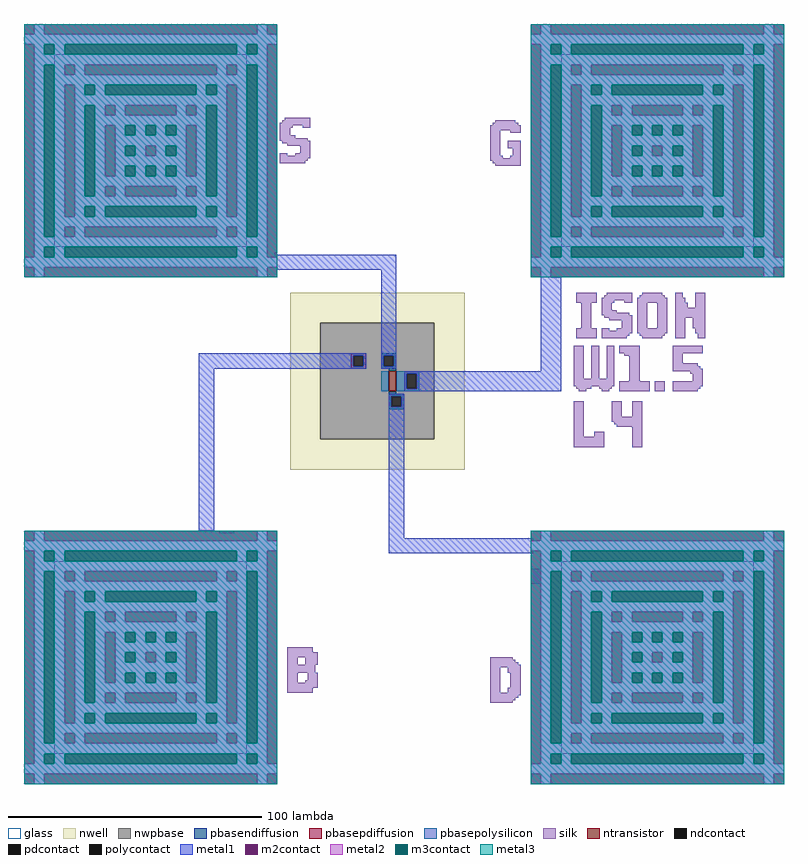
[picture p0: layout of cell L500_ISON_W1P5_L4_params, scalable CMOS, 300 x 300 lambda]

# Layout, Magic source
magic
tech scmos
<< nwell >>
rect -15 85 54 97
rect -15 39 -3 85
rect 42 39 54 85
rect -15 27 54 39
<< pbasepolysilicon >>
rect 21 58 24 66
rect 27 65 36 66
rect 27 59 31 65
rect 35 59 36 65
rect 27 58 36 59
<< metal1 >>
rect -21 112 -20 113
rect -21 107 27 112
rect -20 106 27 107
rect -51 72 15 73
rect -51 68 10 72
rect 14 68 15 72
rect -51 67 15 68
rect 21 72 27 106
rect 21 68 22 72
rect 26 68 27 72
rect 21 67 27 68
rect -51 3 -45 67
rect 84 66 92 103
rect 30 65 92 66
rect 30 59 31 65
rect 35 59 92 65
rect 30 58 92 59
rect 24 56 30 57
rect 24 52 25 56
rect 29 52 30 56
rect -43 2 -37 3
rect 24 0 30 52
rect 24 -6 81 0
rect 80 -18 86 -12
<< ntransistor >>
rect 24 58 27 66
<< nwpbase >>
rect -3 39 42 85
<< pbasendiffusion >>
rect 21 72 27 73
rect 21 68 22 72
rect 26 68 27 72
rect 21 67 27 68
rect 24 66 27 67
rect 24 57 27 58
rect 24 56 30 57
rect 24 52 25 56
rect 29 52 30 56
rect 24 51 30 52
<< pbasepdiffusion >>
rect 9 72 15 73
rect 9 68 10 72
rect 14 68 15 72
rect 9 67 15 68
<< polycontact >>
rect 31 59 35 65
<< ndcontact >>
rect 22 68 26 72
rect 25 52 29 56
<< pdcontact >>
rect 10 68 14 72
use L500_TPAD_blank  L500_TPAD_blank_0
transform 1 0 -120 0 1 103
box 0 0 100 100
use L500_CHAR_s  L500_CHAR_s_0
transform 1 0 -19 0 1 148
box 0 0 12 18
use L500_CHAR_g  L500_CHAR_g_0
transform 1 0 64 0 1 147
box 0 0 12 18
use L500_TPAD_blank  L500_TPAD_blank_1
transform 1 0 80 0 1 103
box 0 0 100 100
use L500_CHAR_i  L500_CHAR_i_0
transform 1 0 98 0 1 79
box 0 0 8 18
use L500_CHAR_s  L500_CHAR_s_1
transform 1 0 108 0 1 79
box 0 0 12 18
use L500_CHAR_o  L500_CHAR_o_0
transform 1 0 122 0 1 79
box 0 0 12 18
use L500_CHAR_n  L500_CHAR_n_0
transform 1 0 137 0 1 79
box 0 0 12 18
use L500_CHAR_w  L500_CHAR_w_0
transform 1 0 97 0 1 58
box 0 0 16 18
use L500_CHAR_1  L500_CHAR_1_0
transform 1 0 115 0 1 58
box 0 0 12 18
use L500_CHAR_dot  L500_CHAR_dot_0
transform 1 0 129 0 1 58
box 0 0 4 4
use L500_CHAR_5  L500_CHAR_5_0
transform 1 0 136 0 1 58
box 0 0 12 18
use L500_CHAR_l  L500_CHAR_l_0
transform 1 0 97 0 1 36
box 0 0 12 18
use L500_CHAR_4  L500_CHAR_4_0
transform 1 0 112 0 1 36
box 0 0 12 18
use L500_TPAD_blank  L500_TPAD_blank_3
transform 1 0 -120 0 1 -97
box 0 0 100 100
use L500_CHAR_b  L500_CHAR_b_0
transform 1 0 -16 0 1 -61
box 0 0 12 18
use L500_CHAR_d  L500_CHAR_d_0
transform 1 0 64 0 1 -65
box 0 0 12 18
use L500_TPAD_blank  L500_TPAD_blank_2
transform 1 0 80 0 1 -97
box 0 0 100 100
<< end >>

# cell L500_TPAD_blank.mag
magic
tech scmos
<< metal1 >>
rect 4 96 8 100
rect 92 96 96 100
rect 0 92 100 96
rect 4 84 96 92
rect 4 80 16 84
rect 20 80 24 84
rect 76 80 80 84
rect 84 80 96 84
rect 4 76 96 80
rect 4 24 16 76
rect 20 68 80 76
rect 20 64 32 68
rect 36 64 40 68
rect 60 64 64 68
rect 68 64 80 68
rect 20 60 80 64
rect 20 40 32 60
rect 36 52 64 60
rect 36 48 48 52
rect 52 48 64 52
rect 36 40 64 48
rect 68 40 80 60
rect 20 36 80 40
rect 20 32 32 36
rect 36 32 40 36
rect 60 32 64 36
rect 68 32 80 36
rect 20 24 80 32
rect 84 24 96 76
rect 4 20 96 24
rect 4 16 16 20
rect 20 16 24 20
rect 76 16 80 20
rect 84 16 96 20
rect 4 8 96 16
rect 0 4 100 8
rect 4 0 8 4
rect 92 0 96 4
<< metal2 >>
rect 4 96 8 100
rect 92 96 96 100
rect 0 92 100 96
rect 4 88 8 92
rect 12 88 16 92
rect 84 88 88 92
rect 92 88 96 92
rect 4 84 96 88
rect 4 16 8 84
rect 12 80 16 84
rect 20 80 24 84
rect 76 80 80 84
rect 84 80 88 84
rect 12 76 88 80
rect 12 24 16 76
rect 20 72 24 76
rect 28 72 32 76
rect 68 72 72 76
rect 76 72 80 76
rect 20 68 80 72
rect 20 32 24 68
rect 28 64 32 68
rect 36 64 40 68
rect 60 64 64 68
rect 68 64 72 68
rect 28 60 72 64
rect 28 40 32 60
rect 36 56 40 60
rect 44 56 48 60
rect 52 56 56 60
rect 60 56 64 60
rect 36 52 64 56
rect 36 48 40 52
rect 44 48 48 52
rect 52 48 56 52
rect 60 48 64 52
rect 36 44 64 48
rect 36 40 40 44
rect 44 40 48 44
rect 52 40 56 44
rect 60 40 64 44
rect 68 40 72 60
rect 28 36 72 40
rect 28 32 32 36
rect 36 32 40 36
rect 60 32 64 36
rect 68 32 72 36
rect 76 32 80 68
rect 20 28 80 32
rect 20 24 24 28
rect 28 24 32 28
rect 68 24 72 28
rect 76 24 80 28
rect 84 24 88 76
rect 12 20 88 24
rect 12 16 16 20
rect 20 16 24 20
rect 76 16 80 20
rect 84 16 88 20
rect 92 16 96 84
rect 4 12 96 16
rect 4 8 8 12
rect 12 8 16 12
rect 84 8 88 12
rect 92 8 96 12
rect 0 4 100 8
rect 4 0 8 4
rect 92 0 96 4
<< metal3 >>
rect 0 92 100 100
rect 0 88 8 92
rect 12 88 16 92
rect 84 88 88 92
rect 92 88 100 92
rect 0 84 100 88
rect 0 16 8 84
rect 12 76 88 84
rect 12 72 24 76
rect 28 72 32 76
rect 68 72 72 76
rect 76 72 88 76
rect 12 68 88 72
rect 12 32 24 68
rect 28 60 72 68
rect 28 56 40 60
rect 44 56 48 60
rect 52 56 56 60
rect 60 56 72 60
rect 28 52 72 56
rect 28 48 40 52
rect 44 48 56 52
rect 60 48 72 52
rect 28 44 72 48
rect 28 40 40 44
rect 44 40 48 44
rect 52 40 56 44
rect 60 40 72 44
rect 28 32 72 40
rect 76 32 88 68
rect 12 28 88 32
rect 12 24 24 28
rect 28 24 32 28
rect 68 24 72 28
rect 76 24 88 28
rect 12 16 88 24
rect 92 16 100 84
rect 0 12 100 16
rect 0 8 8 12
rect 12 8 16 12
rect 84 8 88 12
rect 92 8 100 12
rect 0 0 100 8
<< m2contact >>
rect 0 96 4 100
rect 8 96 92 100
rect 96 96 100 100
rect 0 8 4 92
rect 16 80 20 84
rect 24 80 76 84
rect 80 80 84 84
rect 16 24 20 76
rect 32 64 36 68
rect 40 64 60 68
rect 64 64 68 68
rect 32 40 36 60
rect 48 48 52 52
rect 64 40 68 60
rect 32 32 36 36
rect 40 32 60 36
rect 64 32 68 36
rect 80 24 84 76
rect 16 16 20 20
rect 24 16 76 20
rect 80 16 84 20
rect 96 8 100 92
rect 0 0 4 4
rect 8 0 92 4
rect 96 0 100 4
<< m3contact >>
rect 8 88 12 92
rect 16 88 84 92
rect 88 88 92 92
rect 8 16 12 84
rect 24 72 28 76
rect 32 72 68 76
rect 72 72 76 76
rect 24 32 28 68
rect 40 56 44 60
rect 48 56 52 60
rect 56 56 60 60
rect 40 48 44 52
rect 56 48 60 52
rect 40 40 44 44
rect 48 40 52 44
rect 56 40 60 44
rect 72 32 76 68
rect 24 24 28 28
rect 32 24 68 28
rect 72 24 76 28
rect 88 16 92 84
rect 8 8 12 12
rect 16 8 84 12
rect 88 8 92 12
<< glass >>
rect 12 12 88 88
<< end >>

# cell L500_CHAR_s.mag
magic
tech scmos
<< silk >>
rect 2 17 12 18
rect 1 16 12 17
rect 0 15 12 16
rect 0 14 5 15
rect 9 14 12 15
rect 0 11 4 14
rect 0 10 6 11
rect 0 9 11 10
rect 1 8 12 9
rect 3 7 12 8
rect 8 4 12 7
rect 0 3 3 4
rect 6 3 12 4
rect 0 2 12 3
rect 0 1 11 2
rect 0 0 10 1
<< end >>

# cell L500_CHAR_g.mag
magic
tech scmos
<< silk >>
rect 2 17 10 18
rect 1 16 11 17
rect 0 14 12 16
rect 0 4 4 14
rect 8 13 12 14
rect 7 7 12 10
rect 9 4 12 7
rect 0 3 5 4
rect 8 3 12 4
rect 0 2 12 3
rect 1 1 12 2
rect 2 0 12 1
<< end >>

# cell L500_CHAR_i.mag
magic
tech scmos
<< silk >>
rect 0 14 8 18
rect 2 4 6 14
rect 0 0 8 4
<< end >>

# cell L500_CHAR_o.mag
magic
tech scmos
<< silk >>
rect 2 17 10 18
rect 1 16 11 17
rect 0 14 12 16
rect 0 4 4 14
rect 8 4 12 14
rect 0 2 12 4
rect 1 1 11 2
rect 2 0 10 1
<< end >>

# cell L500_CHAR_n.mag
magic
tech scmos
<< silk >>
rect 0 16 3 18
rect 0 14 4 16
rect 0 12 5 14
rect 8 12 12 18
rect 0 8 12 12
rect 0 0 4 8
rect 7 4 12 8
rect 8 2 12 4
rect 9 0 12 2
<< end >>

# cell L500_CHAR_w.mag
magic
tech scmos
<< silk >>
rect 0 5 4 18
rect 7 5 10 18
rect 13 5 16 18
rect 0 2 16 5
rect 1 1 7 2
rect 10 1 15 2
rect 2 0 5 1
rect 11 0 14 1
<< end >>

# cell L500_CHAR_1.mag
magic
tech scmos
<< silk >>
rect 0 15 8 18
rect 2 14 8 15
rect 4 4 8 14
rect 0 0 12 4
<< end >>

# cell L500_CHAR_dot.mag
magic
tech scmos
<< silk >>
rect 0 0 4 4
<< end >>

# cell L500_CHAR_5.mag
magic
tech scmos
<< silk >>
rect 0 15 12 18
rect 0 11 4 15
rect 0 10 10 11
rect 0 9 11 10
rect 0 8 12 9
rect 7 7 12 8
rect 8 4 12 7
rect 0 2 12 4
rect 0 1 11 2
rect 0 0 10 1
<< end >>

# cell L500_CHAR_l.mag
magic
tech scmos
<< silk >>
rect 0 4 4 18
rect 8 4 12 6
rect 0 0 12 4
<< end >>

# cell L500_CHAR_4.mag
magic
tech scmos
<< silk >>
rect 0 12 4 18
rect 8 12 12 18
rect 0 10 12 12
rect 1 9 12 10
rect 2 8 12 9
rect 8 0 12 8
<< end >>

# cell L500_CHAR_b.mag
magic
tech scmos
<< silk >>
rect 0 16 10 18
rect 0 14 12 16
rect 0 11 4 14
rect 7 11 12 14
rect 0 8 11 11
rect 0 4 4 8
rect 8 5 12 8
rect 7 4 12 5
rect 0 2 12 4
rect 0 0 10 2
<< end >>

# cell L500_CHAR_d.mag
magic
tech scmos
<< silk >>
rect 0 17 9 18
rect 0 16 10 17
rect 0 15 11 16
rect 0 14 12 15
rect 0 4 4 14
rect 7 12 12 14
rect 8 6 12 12
rect 7 4 12 6
rect 0 3 12 4
rect 0 2 11 3
rect 0 1 10 2
rect 0 0 9 1
<< end >>
